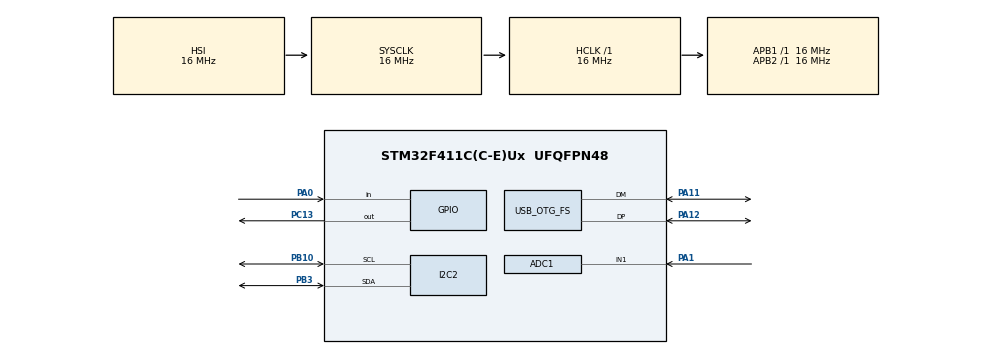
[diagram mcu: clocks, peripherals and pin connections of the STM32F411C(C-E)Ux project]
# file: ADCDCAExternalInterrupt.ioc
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ADC1.Channel-0\#ChannelRegularConversion=ADC_CHANNEL_1
ADC1.ClockPrescaler=ADC_CLOCK_SYNC_PCLK_DIV4
ADC1.ContinuousConvMode=DISABLE
ADC1.NbrOfConversionFlag=1
ADC1.Rank-0\#ChannelRegularConversion=1
ADC1.SamplingTime-0\#ChannelRegularConversion=ADC_SAMPLETIME_3CYCLES
ADC1.master=1
Mcu.Family=STM32F4
Mcu.Name=STM32F411C(C-E)Ux
Mcu.Package=UFQFPN48
NVIC.ADC_IRQn=true\:0\:0\:false\:false\:true\:true\:true\:true
NVIC.OTG_FS_IRQn=true\:0\:0\:false\:false\:true\:false\:true\:true
NVIC.PriorityGroup=NVIC_PRIORITYGROUP_4
PA0-WKUP.GPIO_PuPd=GPIO_PULLUP
PA0-WKUP.Signal=GPIO_Input
PA1.Signal=ADCx_IN1
PA11.Mode=Device_Only
PA11.Signal=USB_OTG_FS_DM
PA12.Mode=Device_Only
PA12.Signal=USB_OTG_FS_DP
PB10.GPIO_Pu=GPIO_PULLUP
PB10.Mode=I2C
PB10.Signal=I2C2_SCL
PB3.GPIO_Pu=GPIO_PULLUP
PB3.Mode=I2C
PB3.Signal=I2C2_SDA
PC13-ANTI_TAMP.GPIO_ModeDefaultOutputPP=GPIO_MODE_OUTPUT_PP
PC13-ANTI_TAMP.Signal=GPIO_Output
PH0\ -\ OSC_IN.Mode=HSE-External-Oscillator
PH0\ -\ OSC_IN.Signal=RCC_OSC_IN
PH1\ -\ OSC_OUT.Mode=HSE-External-Oscillator
PH1\ -\ OSC_OUT.Signal=RCC_OSC_OUT
ProjectManager.HeapSize=0x200
ProjectManager.StackSize=0x400
ProjectManager.TargetToolchain=STM32CubeIDE
RCC.48MHZClocksFreq_Value=48000000
RCC.AHBFreq_Value=16000000
RCC.APB1Freq_Value=16000000
RCC.APB2Freq_Value=16000000
RCC.CortexFreq_Value=16000000
RCC.HSE_VALUE=25000000
RCC.HSI_VALUE=16000000
RCC.LSE_VALUE=32768
RCC.PLLM=15
RCC.PLLN=144
RCC.PLLQ=5
RCC.SYSCLKFreq_VALUE=16000000
RCC.VCOOutputFreq_Value=240000000
SH.ADCx_IN1.0=ADC1_IN1,IN1
USB_DEVICE.CLASS_NAME_FS=CDC
USB_DEVICE.VirtualMode=Cdc
USB_DEVICE.VirtualModeFS=Cdc_FS
USB_OTG_FS.VirtualMode=Device_Only
VP_USB_DEVICE_VS_USB_DEVICE_CDC_FS.Mode=CDC_FS
board=custom

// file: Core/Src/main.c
/* USER CODE BEGIN Header */
/**
 ******************************************************************************
 * @file           : main.c
 * @brief          : Main program body
 ******************************************************************************
 * @attention
 *
 * Copyright (c) 2024 STMicroelectronics.
 * All rights reserved.
 *
 * This software is licensed under terms that can be found in the LICENSE file
 * in the root directory of this software component.
 * If no LICENSE file comes with this software, it is provided AS-IS.
 *
 ******************************************************************************
 */
/* USER CODE END Header */
#include "main.h"
#include "usb_device.h"

/* USER CODE BEGIN PD */
#define ADCRES 12
#define ZEROSCALE 0
#define MIDSCALE 1861
#define FULLSCALE 4095
/* USER CODE END PD */

ADC_HandleTypeDef hadc1;

I2C_HandleTypeDef hi2c2;

/* USER CODE BEGIN PV */
int timeOut = 100;
int countsDAC;
int adcValue;
double volts;
uint8_t buf[2];
char buffer[32];
GPIO_PinState pinState;
/* USER CODE END PV */

void SystemClock_Config(void);
static void MX_GPIO_Init(void);
static void MX_ADC1_Init(void);
static void MX_I2C2_Init(void);
/* USER CODE BEGIN PFP */
extern double count2volt(int res, int count);
extern uint8_t CDC_Transmit_FS(uint8_t *Buf, uint16_t Len);
/* USER CODE END PFP */

int main(void)
{

  /* MCU Configuration--------------------------------------------------------*/

  /* Reset of all peripherals, Initializes the Flash interface and the Systick. */
  HAL_Init();

  /* USER CODE BEGIN Init */
	HAL_StatusTypeDef RET;

  /* USER CODE END Init */

  /* Configure the system clock */
  SystemClock_Config();

  /* Initialize all configured peripherals */
  MX_GPIO_Init();
  MX_ADC1_Init();
  MX_USB_DEVICE_Init();
  MX_I2C2_Init();
  /* USER CODE BEGIN 2 */
	HAL_ADC_Start_IT(&hadc1);
  /* USER CODE END 2 */

  /* Infinite loop */
  /* USER CODE BEGIN WHILE */
	while (1) {

		if (RET == HAL_OK) {
			HAL_GPIO_TogglePin(GPIOC, GPIO_PIN_13);
			HAL_Delay(500);
		}

		pinState = HAL_GPIO_ReadPin(GPIOA, GPIO_PIN_0);

		if (!pinState) {
			countsDAC = MIDSCALE;
		} else {
			countsDAC = FULLSCALE;
		}
		buf[0] = countsDAC >> 8;
		buf[1] = countsDAC;

		volts = count2volt(ADCRES, adcValue);

		RET = HAL_I2C_Master_Transmit(&hi2c2, (0x60 << 1), buf, 2, timeOut);
		if (RET == HAL_OK) {
			sprintf(buffer, "Counts: %d --- Volts: %.2f\r\n", adcValue, volts);
		} else {
			sprintf(buffer, "HAL_Error in I2C transmission\r\n");
		}
		CDC_Transmit_FS(buffer, sizeof(buffer));

		HAL_ADC_Start_IT(&hadc1);
		HAL_Delay(500);

    /* USER CODE END WHILE */

	}
}

void SystemClock_Config(void)
{
  RCC_OscInitTypeDef RCC_OscInitStruct = {0};
  RCC_ClkInitTypeDef RCC_ClkInitStruct = {0};

  /** Configure the main internal regulator output voltage
  */
  __HAL_RCC_PWR_CLK_ENABLE();
  __HAL_PWR_VOLTAGESCALING_CONFIG(PWR_REGULATOR_VOLTAGE_SCALE1);

  /** Initializes the RCC Oscillators according to the specified parameters
  * in the RCC_OscInitTypeDef structure.
  */
  RCC_OscInitStruct.OscillatorType = RCC_OSCILLATORTYPE_HSI|RCC_OSCILLATORTYPE_HSE;
  RCC_OscInitStruct.HSEState = RCC_HSE_ON;
  RCC_OscInitStruct.HSIState = RCC_HSI_ON;
  RCC_OscInitStruct.HSICalibrationValue = RCC_HSICALIBRATION_DEFAULT;
  RCC_OscInitStruct.PLL.PLLState = RCC_PLL_ON;
  RCC_OscInitStruct.PLL.PLLSource = RCC_PLLSOURCE_HSE;
  RCC_OscInitStruct.PLL.PLLM = 15;
  RCC_OscInitStruct.PLL.PLLN = 144;
  RCC_OscInitStruct.PLL.PLLP = RCC_PLLP_DIV2;
  RCC_OscInitStruct.PLL.PLLQ = 5;
  if (HAL_RCC_OscConfig(&RCC_OscInitStruct) != HAL_OK)
  {
    Error_Handler();
  }

  /** Initializes the CPU, AHB and APB buses clocks
  */
  RCC_ClkInitStruct.ClockType = RCC_CLOCKTYPE_HCLK|RCC_CLOCKTYPE_SYSCLK
                              |RCC_CLOCKTYPE_PCLK1|RCC_CLOCKTYPE_PCLK2;
  RCC_ClkInitStruct.SYSCLKSource = RCC_SYSCLKSOURCE_HSI;
  RCC_ClkInitStruct.AHBCLKDivider = RCC_SYSCLK_DIV1;
  RCC_ClkInitStruct.APB1CLKDivider = RCC_HCLK_DIV1;
  RCC_ClkInitStruct.APB2CLKDivider = RCC_HCLK_DIV1;

  if (HAL_RCC_ClockConfig(&RCC_ClkInitStruct, FLASH_LATENCY_0) != HAL_OK)
  {
    Error_Handler();
  }
}

static void MX_ADC1_Init(void)
{

  ADC_ChannelConfTypeDef sConfig = {0};

  /** Configure the global features of the ADC (Clock, Resolution, Data Alignment and number of conversion)
  */
  hadc1.Instance = ADC1;
  hadc1.Init.ClockPrescaler = ADC_CLOCK_SYNC_PCLK_DIV4;
  hadc1.Init.Resolution = ADC_RESOLUTION_12B;
  hadc1.Init.ScanConvMode = DISABLE;
  hadc1.Init.ContinuousConvMode = DISABLE;
  hadc1.Init.DiscontinuousConvMode = DISABLE;
  hadc1.Init.ExternalTrigConvEdge = ADC_EXTERNALTRIGCONVEDGE_NONE;
  hadc1.Init.ExternalTrigConv = ADC_SOFTWARE_START;
  hadc1.Init.DataAlign = ADC_DATAALIGN_RIGHT;
  hadc1.Init.NbrOfConversion = 1;
  hadc1.Init.DMAContinuousRequests = DISABLE;
  hadc1.Init.EOCSelection = ADC_EOC_SINGLE_CONV;
  if (HAL_ADC_Init(&hadc1) != HAL_OK)
  {
    Error_Handler();
  }

  /** Configure for the selected ADC regular channel its corresponding rank in the sequencer and its sample time.
  */
  sConfig.Channel = ADC_CHANNEL_1;
  sConfig.Rank = 1;
  sConfig.SamplingTime = ADC_SAMPLETIME_3CYCLES;
  if (HAL_ADC_ConfigChannel(&hadc1, &sConfig) != HAL_OK)
  {
    Error_Handler();
  }

}

static void MX_I2C2_Init(void)
{

  hi2c2.Instance = I2C2;
  hi2c2.Init.ClockSpeed = 100000;
  hi2c2.Init.DutyCycle = I2C_DUTYCYCLE_2;
  hi2c2.Init.OwnAddress1 = 0;
  hi2c2.Init.AddressingMode = I2C_ADDRESSINGMODE_7BIT;
  hi2c2.Init.DualAddressMode = I2C_DUALADDRESS_DISABLE;
  hi2c2.Init.OwnAddress2 = 0;
  hi2c2.Init.GeneralCallMode = I2C_GENERALCALL_DISABLE;
  hi2c2.Init.NoStretchMode = I2C_NOSTRETCH_DISABLE;
  if (HAL_I2C_Init(&hi2c2) != HAL_OK)
  {
    Error_Handler();
  }

}

static void MX_GPIO_Init(void)
{
  GPIO_InitTypeDef GPIO_InitStruct = {0};

  /* GPIO Ports Clock Enable */
  __HAL_RCC_GPIOC_CLK_ENABLE();
  __HAL_RCC_GPIOH_CLK_ENABLE();
  __HAL_RCC_GPIOA_CLK_ENABLE();
  __HAL_RCC_GPIOB_CLK_ENABLE();

  /*Configure GPIO pin Output Level */
  HAL_GPIO_WritePin(GPIOC, GPIO_PIN_13, GPIO_PIN_RESET);

  /*Configure GPIO pin : PC13 */
  GPIO_InitStruct.Pin = GPIO_PIN_13;
  GPIO_InitStruct.Mode = GPIO_MODE_OUTPUT_PP;
  GPIO_InitStruct.Pull = GPIO_NOPULL;
  GPIO_InitStruct.Speed = GPIO_SPEED_FREQ_LOW;
  HAL_GPIO_Init(GPIOC, &GPIO_InitStruct);

  /*Configure GPIO pin : PA0 */
  GPIO_InitStruct.Pin = GPIO_PIN_0;
  GPIO_InitStruct.Mode = GPIO_MODE_INPUT;
  GPIO_InitStruct.Pull = GPIO_PULLUP;
  HAL_GPIO_Init(GPIOA, &GPIO_InitStruct);

}

/* USER CODE BEGIN 4 */
void HAL_ADC_ConvCpltCallback(ADC_HandleTypeDef *hadc1) {
	adcValue = HAL_ADC_GetValue(hadc1);
	HAL_ADC_Stop_IT(hadc1);
}
/* USER CODE END 4 */

void Error_Handler(void)
{
	__disable_irq();
	while (1) {
	}
}
